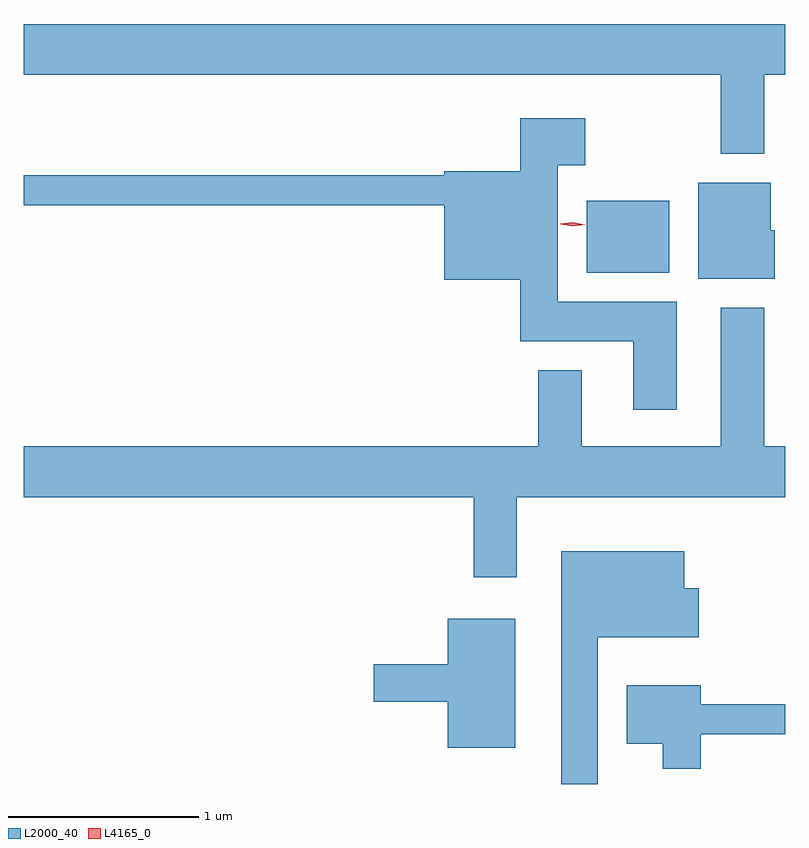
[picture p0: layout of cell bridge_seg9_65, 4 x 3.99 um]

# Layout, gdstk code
import gdstk
lib = gdstk.Library(unit=1e-6, precision=1e-09)
def R(c, l, rs):  # rectangles x0, y0, x1, y1
    for r in rs: c.add(gdstk.rectangle(r[:2], r[2:], *l))
def P(c, l, *ps):  # polygons
    for p in ps: c.add(gdstk.Polygon(p, *l))
L2000_40 = (2000, 40)
L4165_0 = (4165, 0)

bridge_seg9_65 = lib.new_cell('bridge_seg9_65')
R(bridge_seg9_65, L2000_40, [(1690.096,1964.136,1690.529,1964.514)])
P(bridge_seg9_65, L2000_40, [(1691.029,1965.176),(1691.138,1965.176),(1691.138,1965.444),(1687.138,1965.444),(1687.138,1965.176),(1690.801,1965.176),(1690.801,1964.761),(1691.029,1964.761)],
  [(1690.569,1963.984),(1689.944,1963.984),(1689.944,1964.701),(1690.089,1964.701),(1690.089,1964.949),(1689.746,1964.949),(1689.746,1964.669),(1689.346,1964.669),(1689.346,1964.649),(1687.138,1964.649),(1687.138,1964.491),(1689.346,1964.491),(1689.346,1964.101),(1689.746,1964.101),(1689.746,1963.776),(1690.341,1963.776),(1690.341,1963.416),(1690.569,1963.416)],
  [(1691.084,1964.359),(1691.064,1964.359),(1691.064,1964.609),(1690.681,1964.609),(1690.681,1964.106),(1691.084,1964.106)],
  [(1689.729,1962.956),(1691.138,1962.956),(1691.138,1963.224),(1691.029,1963.224),(1691.029,1963.954),(1690.801,1963.954),(1690.801,1963.224),(1690.069,1963.224),(1690.069,1963.624),(1689.841,1963.624),(1689.841,1963.224),(1687.138,1963.224),(1687.138,1962.956),(1689.501,1962.956),(1689.501,1962.536),(1689.729,1962.536)],
  [(1690.154,1962.221),(1690.684,1962.221),(1690.684,1962.479),(1690.609,1962.479),(1690.609,1962.674),(1689.961,1962.674),(1689.961,1961.45),(1690.154,1961.45)],
  [(1689.719,1962.319),(1689.366,1962.319),(1689.366,1962.079),(1688.976,1962.079),(1688.976,1961.881),(1689.366,1961.881),(1689.366,1961.641),(1689.719,1961.641)],
  [(1690.694,1961.711),(1691.138,1961.711),(1691.138,1961.869),(1690.694,1961.869),(1690.694,1961.969),(1690.306,1961.969),(1690.306,1961.661),(1690.496,1961.661),(1690.496,1961.531),(1690.694,1961.531)])
P(bridge_seg9_65, L4165_0, [(1690.022,1964.381),(1689.956,1964.392),(1689.956,1964.392),(1689.956,1964.393),(1690.023,1964.401),(1690.089,1964.39),(1690.089,1964.39),(1690.089,1964.389)])

lib.write_gds('bridge_seg9_65.gds')
